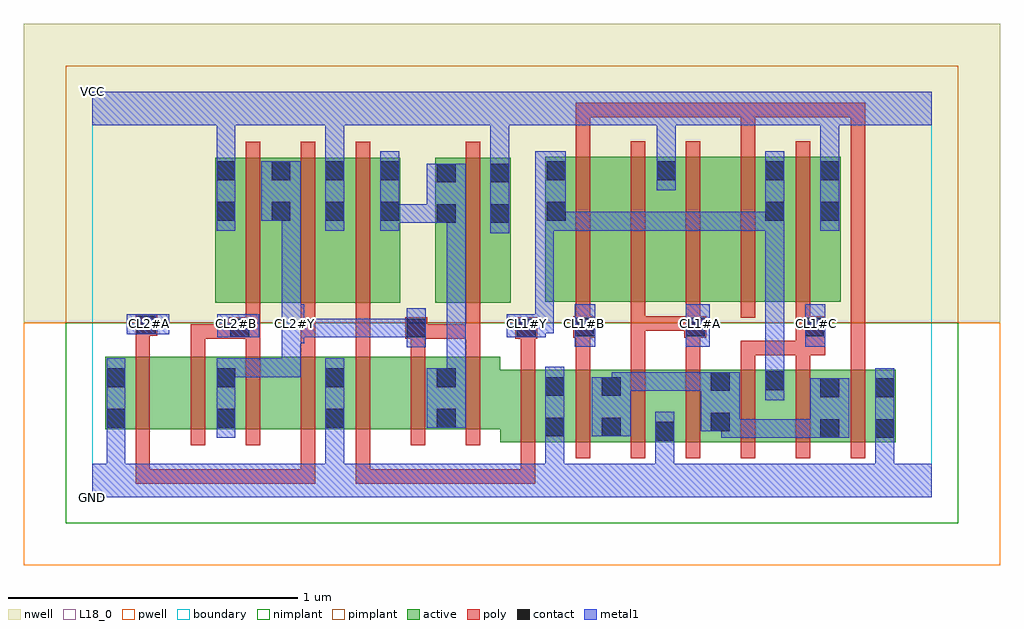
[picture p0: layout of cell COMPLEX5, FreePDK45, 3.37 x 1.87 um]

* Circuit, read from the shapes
.subckt COMPLEX5 CL1#A CL1#B CL1#C CL1#Y CL2#A CL2#B CL2#Y GND VCC
M1 n1 CL2#A GND VSUBS nfet w=0.25u l=0.05u
M2 CL2#Y CL2#B n1 VSUBS nfet w=0.25u l=0.05u
M3 n2 CL2#B CL2#Y VSUBS nfet w=0.25u l=0.05u
M4 GND CL2#A n2 VSUBS nfet w=0.25u l=0.05u
M5 n3 CL1#Y GND VSUBS nfet w=0.25u l=0.05u
M6 n4 CL2#Y n3 VSUBS nfet w=0.25u l=0.05u
M7 n5 CL2#Y n4 VSUBS nfet w=0.25u l=0.05u
M8 GND CL1#Y n5 VSUBS nfet w=0.25u l=0.05u
M9 n6 CL1#B GND VSUBS nfet w=0.25u l=0.05u m=2
M10 GND CL1#A n6 VSUBS nfet w=0.25u l=0.05u m=2
M11 CL1#Y CL1#C n6 VSUBS nfet w=0.25u l=0.05u m=2
M12 CL2#Y CL2#B VCC n7 pfet w=0.5u l=0.05u
M13 VCC CL2#A CL2#Y n7 pfet w=0.5u l=0.05u
M14 n4 CL1#Y VCC n7 pfet w=0.5u l=0.05u
M15 VCC CL2#Y n4 n7 pfet w=0.5u l=0.05u
M16 n8 CL1#B CL1#Y n7 pfet w=0.5u l=0.05u
M17 VCC CL1#A n8 n7 pfet w=0.5u l=0.05u
M18 n9 CL1#A VCC n7 pfet w=0.5u l=0.05u
M19 CL1#Y CL1#B n9 n7 pfet w=0.5u l=0.05u
M20 VCC CL1#C CL1#Y n7 pfet w=0.5u l=0.05u
.ends

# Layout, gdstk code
import gdstk
lib = gdstk.Library(unit=1e-6, precision=1e-09)
def R(c, l, rs):  # rectangles x0, y0, x1, y1
    for r in rs: c.add(gdstk.rectangle(r[:2], r[2:], *l))
def A(c, l, x, y, w, h, nx, ny, dx, dy):  # array of equal rectangles
    R(c, l, [(x+i*dx, y+j*dy, x+i*dx+w, y+j*dy+h) for i in range(nx) for j in range(ny)])
active = (1, 0)
pwell = (2, 0)
nwell = (3, 0)
nimplant = (4, 0)
pimplant = (5, 0)
poly = (9, 0)
contact = (10, 0)
metal1 = (11, 0)
L18_0 = (18, 0)
boundary = (235, 0)

complex5 = lib.new_cell('COMPLEX5')
R(complex5, active, [(1.41,0.19,1.635,0.44), (1.56,0.19,1.83,0.44), (1.755,0.19,2.015,0.44), (1.94,0.19,2.207,0.44), (1.94,0.19,2.015,0.342), (2.132,0.19,2.395,0.44), (2.32,0.19,2.585,0.44), (2.51,0.19,2.775,0.44), (2.7,0.19,2.775,0.44), (1.755,0.2,1.83,0.42), (2.132,0.2,2.207,0.437), (2.51,0.2,2.585,0.44), (1.56,0.205,1.635,0.44), (0.045,0.235,0.12,0.485), (0.045,0.235,0.27,0.485), (0.27,0.235,0.5,0.485), (0.425,0.235,0.65,0.485), (0.425,0.235,0.5,0.467), (0.65,0.235,0.875,0.485), (0.8,0.235,1.03,0.485), (0.8,0.235,0.875,0.45), (1.03,0.235,1.26,0.485), (1.185,0.235,1.41,0.485), (1.185,0.235,1.26,0.467), (2.32,0.297,2.395,0.44), (0.425,0.672,0.5,1.172), (0.425,0.672,0.69,1.172), (0.615,0.672,0.875,1.172), (0.8,0.672,1.065,1.172), (0.99,0.672,1.065,1.165), (1.185,0.672,1.445,1.172), (1.185,0.672,1.26,1.157), (1.37,0.672,1.445,1.172), (1.565,0.675,1.64,1.175), (1.565,0.675,1.79,1.175), (1.79,0.675,2.02,1.175), (1.945,0.675,2.02,1.165), (1.945,0.675,2.17,1.175), (2.17,0.675,2.395,1.175), (2.32,0.675,2.585,1.175), (2.32,0.675,2.395,1.165), (2.51,0.675,2.585,1.175), (0.615,0.807,0.69,1.165), (0.8,0.807,0.875,1.165)])
R(complex5, pwell, [(-0.235,-0.235,3.135,0.602)])
R(complex5, nwell, [(-0.235,0.602,3.135,1.635)])
R(complex5, nimplant, [(-0.09,-0.09,2.99,0.602)])
R(complex5, pimplant, [(-0.09,0.602,2.99,1.49)])
A(complex5, poly, 1.48, 0.135, 0.05, 0.36, 7, 1, 0.19, 0)
A(complex5, poly, 0.15, 0.18, 0.05, 0.36, 7, 1, 0.19, 0)
A(complex5, poly, 0.53, 0.572, 0.05, 0.095, 3, 1, 0.19, 0)
A(complex5, poly, 1.67, 0.575, 0.05, 0.095, 3, 1, 0.19, 0)
A(complex5, poly, 0.53, 0.617, 0.05, 0.61, 3, 1, 0.19, 0)
A(complex5, poly, 1.67, 0.62, 0.05, 0.61, 5, 1, 0.19, 0)
R(complex5, poly, [(0.15,0.047,0.2,0.097), (0.15,0.047,0.2,0.097), (0.15,0.047,0.2,0.097), (0.15,0.047,0.39,0.097), (0.15,0.047,0.2,0.23), (0.34,0.047,0.39,0.097), (0.34,0.047,0.39,0.097), (0.34,0.047,0.39,0.097), (0.34,0.047,0.637,0.097), (0.587,0.047,0.637,0.097), (0.587,0.047,0.637,0.097), (0.587,0.047,0.637,0.097), (0.587,0.047,0.77,0.097), (0.72,0.047,0.77,0.097), (0.72,0.047,0.77,0.23), (0.91,0.047,0.96,0.097), (0.91,0.047,1.157,0.097), (0.91,0.047,0.96,0.23), (1.107,0.047,1.157,0.097), (1.107,0.047,1.157,0.097), (1.107,0.047,1.157,0.097), (1.107,0.047,1.29,0.097), (1.24,0.047,1.29,0.097), (1.24,0.047,1.29,0.097), (1.24,0.047,1.29,0.097), (1.24,0.047,1.53,0.097), (1.48,0.047,1.53,0.097), (1.48,0.047,1.53,0.097), (1.48,0.047,1.53,0.097), (1.48,0.047,1.53,0.185), (1.48,0.445,1.53,0.597), (1.67,0.445,1.72,0.6), (1.86,0.445,1.91,0.625), (2.05,0.445,2.1,0.6), (2.24,0.445,2.29,0.54), (2.43,0.445,2.48,0.54), (2.62,0.445,2.67,1.362), (0.15,0.49,0.2,0.607), (0.34,0.49,0.39,0.597), (0.53,0.49,0.58,0.597), (0.72,0.49,0.77,0.622), (0.91,0.49,0.96,0.622), (1.1,0.49,1.15,0.597), (1.29,0.49,1.34,0.597), (2.24,0.49,2.29,0.54), (2.24,0.49,2.48,0.54), (2.43,0.49,2.48,0.54), (2.43,0.49,2.48,0.54), (2.43,0.49,2.532,0.625), (0.34,0.547,0.39,0.597), (0.34,0.547,0.39,0.597), (0.34,0.547,0.39,0.597), (0.34,0.547,0.522,0.597), (0.472,0.547,0.58,0.622), (1.082,0.547,1.157,0.622), (1.107,0.547,1.34,0.597), (1.29,0.547,1.34,0.597), (1.29,0.547,1.34,0.597), (1.29,0.547,1.34,0.597), (1.29,0.547,1.34,0.667), (1.462,0.547,1.537,0.622), (1.662,0.55,1.737,0.625), (2.045,0.55,2.12,0.625), (0.15,0.557,0.225,0.632), (0.72,0.572,0.77,0.622), (0.91,0.572,0.96,0.622), (1.86,0.575,1.91,0.625), (1.86,0.575,2.095,0.625), (2.045,0.575,2.095,0.625), (2.045,0.575,2.095,0.625), (2.43,0.575,2.48,0.67), (1.29,0.617,1.34,1.227), (1.67,1.18,1.72,1.362), (2.24,1.18,2.29,1.362), (1.67,1.312,1.72,1.362), (1.67,1.312,1.72,1.362), (1.67,1.312,1.72,1.362), (1.67,1.312,1.87,1.362), (1.82,1.312,1.87,1.362), (1.82,1.312,1.87,1.362), (1.82,1.312,1.87,1.362), (1.82,1.312,2.157,1.362), (2.107,1.312,2.157,1.362), (2.107,1.312,2.29,1.362), (2.24,1.312,2.29,1.362), (2.24,1.312,2.29,1.362), (2.24,1.312,2.29,1.362), (2.24,1.312,2.422,1.362), (2.372,1.312,2.422,1.362), (2.372,1.312,2.422,1.362), (2.372,1.312,2.422,1.362), (2.372,1.312,2.67,1.362), (2.62,1.312,2.67,1.362), (2.62,1.312,2.67,1.362), (2.62,1.312,2.67,1.362), (2.62,1.312,2.67,1.362), (2.62,1.312,2.67,1.362), (2.62,1.312,2.67,1.362), (2.62,1.312,2.67,1.362), (2.62,1.312,2.67,1.362), (2.62,1.312,2.67,1.362), (2.62,1.312,2.67,1.362), (2.62,1.312,2.67,1.362), (2.62,1.312,2.67,1.362), (2.62,1.312,2.67,1.362)])
R(complex5, contact, [(1.945,0.195,2.01,0.26), (2.515,0.205,2.58,0.27), (2.705,0.205,2.77,0.27), (1.565,0.21,1.63,0.275), (1.76,0.21,1.825,0.275), (2.137,0.227,2.202,0.292), (0.05,0.24,0.115,0.305), (0.43,0.24,0.495,0.305), (0.805,0.24,0.87,0.305), (1.19,0.24,1.255,0.305), (2.515,0.345,2.58,0.41), (2.705,0.345,2.77,0.41), (1.565,0.35,1.63,0.415), (1.76,0.35,1.825,0.415), (2.137,0.367,2.202,0.432), (2.325,0.37,2.39,0.435), (0.05,0.38,0.115,0.445), (0.43,0.38,0.495,0.445), (0.805,0.38,0.87,0.445), (1.19,0.38,1.255,0.445), (0.477,0.552,0.542,0.617), (1.087,0.552,1.152,0.617), (1.467,0.552,1.532,0.617), (1.667,0.555,1.732,0.62), (2.05,0.555,2.115,0.62), (2.462,0.555,2.527,0.62), (0.155,0.562,0.22,0.627), (1.19,0.947,1.255,1.012), (1.375,0.947,1.44,1.012), (0.43,0.955,0.495,1.02), (0.62,0.955,0.685,1.02), (0.805,0.955,0.87,1.02), (0.995,0.955,1.06,1.02), (1.57,0.955,1.635,1.02), (2.325,0.955,2.39,1.02), (2.515,0.955,2.58,1.02), (1.19,1.087,1.255,1.152), (1.375,1.087,1.44,1.152), (0.43,1.095,0.495,1.16), (0.62,1.095,0.685,1.16), (0.805,1.095,0.87,1.16), (0.995,1.095,1.06,1.16), (1.57,1.095,1.635,1.16), (1.95,1.095,2.015,1.16), (2.325,1.095,2.39,1.16), (2.515,1.095,2.58,1.16)])
R(complex5, metal1, [(0,0,2.9,0.115), (0.05,0.05,0.115,0.115), (0.05,0.05,0.115,0.115), (0.05,0.05,0.115,0.115), (0.05,0.05,0.115,0.115), (0.05,0.05,0.115,0.27), (0.805,0.05,0.87,0.27), (1.565,0.05,1.63,0.24), (1.945,0.05,2.01,0.115), (1.945,0.05,2.01,0.115), (1.945,0.05,2.01,0.115), (1.945,0.05,2.01,0.115), (1.945,0.05,2.01,0.225), (2.705,0.05,2.77,0.115), (2.705,0.05,2.77,0.115), (2.705,0.05,2.77,0.235), (1.945,0.16,2.01,0.295), (2.705,0.17,2.77,0.235), (2.705,0.17,2.77,0.235), (2.705,0.17,2.77,0.445), (1.565,0.175,1.63,0.24), (1.565,0.175,1.63,0.24), (1.565,0.175,1.63,0.24), (1.565,0.175,1.63,0.24), (1.565,0.175,1.63,0.45), (0.05,0.205,0.115,0.48), (0.43,0.205,0.495,0.48), (0.805,0.205,0.87,0.27), (0.805,0.205,0.87,0.27), (0.805,0.205,0.87,0.27), (0.805,0.205,0.87,0.27), (0.805,0.205,0.87,0.48), (2.172,0.205,2.237,0.27), (2.172,0.205,2.237,0.27), (2.172,0.205,2.237,0.27), (2.172,0.205,2.375,0.27), (2.172,0.205,2.237,0.292), (2.31,0.205,2.375,0.27), (2.31,0.205,2.545,0.27), (2.48,0.205,2.545,0.27), (2.48,0.205,2.545,0.27), (2.48,0.205,2.615,0.41), (1.725,0.21,1.86,0.415), (2.102,0.227,2.237,0.432), (1.155,0.24,1.29,0.445), (2.325,0.335,2.39,0.47), (1.795,0.35,1.86,0.415), (1.795,0.35,1.86,0.432), (1.795,0.367,2.03,0.432), (1.965,0.367,2.03,0.432), (1.965,0.367,2.03,0.432), (1.965,0.367,2.03,0.432), (1.965,0.367,2.167,0.432), (1.225,0.38,1.29,0.445), (1.225,0.38,1.29,0.445), (1.225,0.38,1.29,1.012), (2.325,0.405,2.39,0.47), (2.325,0.405,2.39,0.47), (2.325,0.405,2.39,0.985), (0.43,0.415,0.495,0.48), (0.43,0.415,0.495,0.48), (0.43,0.415,0.72,0.48), (0.655,0.415,0.72,0.48), (0.655,0.415,0.72,0.597), (1.087,0.517,1.152,0.652), (1.667,0.52,1.737,0.667), (2.05,0.52,2.132,0.667), (2.462,0.52,2.532,0.667), (0.655,0.532,0.732,0.667), (0.432,0.552,0.577,0.632), (0.667,0.552,0.732,0.617), (0.667,0.552,0.732,0.617), (0.667,0.552,0.922,0.617), (0.857,0.552,0.922,0.617), (0.857,0.552,0.922,0.617), (0.857,0.552,0.922,0.617), (0.857,0.552,1.082,0.617), (1.017,0.552,1.082,0.617), (1.017,0.552,1.152,0.617), (1.432,0.552,1.567,0.632), (0.12,0.562,0.267,0.632), (1.502,0.567,1.595,0.632), (1.53,0.567,1.595,0.632), (1.53,0.567,1.595,0.985), (0.655,0.602,0.72,1.02), (1.375,0.912,1.44,1.187), (0.43,0.92,0.495,1.195), (0.805,0.92,0.87,1.195), (0.995,0.92,1.06,1.195), (1.53,0.92,1.635,1.195), (1.57,0.92,1.705,0.985), (1.64,0.92,1.705,0.985), (1.64,0.92,1.842,0.985), (1.777,0.92,1.842,0.985), (1.777,0.92,1.842,0.985), (1.777,0.92,1.842,0.985), (1.777,0.92,2.03,0.985), (1.965,0.92,2.03,0.985), (1.965,0.92,2.03,0.985), (1.965,0.92,2.03,0.985), (1.965,0.92,2.167,0.985), (2.102,0.92,2.167,0.985), (2.102,0.92,2.39,0.985), (2.325,0.92,2.39,0.985), (2.325,0.92,2.39,0.985), (2.325,0.92,2.39,1.195), (2.515,0.92,2.58,1.195), (0.995,0.947,1.22,1.012), (1.155,0.947,1.22,1.012), (1.155,0.947,1.22,1.012), (1.155,0.947,1.29,1.152), (0.585,0.955,0.72,1.16), (1.95,1.06,2.015,1.195), (1.375,1.122,1.44,1.187), (1.375,1.122,1.44,1.187), (1.375,1.122,1.44,1.35), (0.43,1.13,0.495,1.195), (0.43,1.13,0.495,1.195), (0.43,1.13,0.495,1.35), (0.805,1.13,0.87,1.195), (0.805,1.13,0.87,1.195), (0.805,1.13,0.87,1.35), (1.95,1.13,2.015,1.35), (2.515,1.13,2.58,1.35), (0,1.285,2.9,1.4), (1.95,1.285,2.015,1.35), (1.95,1.285,2.015,1.35), (2.515,1.285,2.58,1.35), (2.515,1.285,2.58,1.35)])
A(complex5, L18_0, 1.667, 0.567, 0.065, 0.065, 3, 1, 0.4, 0)
R(complex5, L18_0, [(0,0,2.9,0.115), (0.05,0.05,0.115,0.115), (0.05,0.05,0.115,0.115), (0.05,0.05,0.115,0.115), (0.05,0.05,0.115,0.115), (0.05,0.05,0.115,0.27), (0.805,0.05,0.87,0.27), (1.565,0.05,1.63,0.24), (1.945,0.05,2.01,0.115), (1.945,0.05,2.01,0.115), (1.945,0.05,2.01,0.115), (1.945,0.05,2.01,0.115), (1.945,0.05,2.01,0.225), (2.705,0.05,2.77,0.115), (2.705,0.05,2.77,0.115), (2.705,0.05,2.77,0.235), (1.945,0.16,2.01,0.295), (2.705,0.17,2.77,0.235), (2.705,0.17,2.77,0.235), (2.705,0.17,2.77,0.445), (1.565,0.175,1.63,0.24), (1.565,0.175,1.63,0.24), (1.565,0.175,1.63,0.24), (1.565,0.175,1.63,0.24), (1.565,0.175,1.63,0.45), (0.05,0.205,0.115,0.48), (0.43,0.205,0.495,0.48), (0.805,0.205,0.87,0.27), (0.805,0.205,0.87,0.27), (0.805,0.205,0.87,0.27), (0.805,0.205,0.87,0.27), (0.805,0.205,0.87,0.48), (2.325,0.335,2.39,0.47), (2.325,0.405,2.39,0.47), (2.325,0.405,2.39,0.47), (2.325,0.405,2.39,0.985), (0.43,0.415,0.495,0.48), (0.43,0.415,0.495,0.48), (0.43,0.415,0.72,0.48), (0.655,0.415,0.72,0.48), (0.655,0.415,0.72,0.597), (1.087,0.517,1.152,0.652), (1.667,0.52,1.737,0.667), (2.05,0.52,2.132,0.667), (2.462,0.52,2.532,0.667), (0.655,0.532,0.732,0.667), (0.432,0.552,0.577,0.632), (0.667,0.552,0.732,0.617), (0.667,0.552,0.732,0.617), (0.667,0.552,0.922,0.617), (0.857,0.552,0.922,0.617), (0.857,0.552,0.922,0.617), (0.857,0.552,0.922,0.617), (0.857,0.552,1.082,0.617), (1.017,0.552,1.082,0.617), (1.017,0.552,1.152,0.617), (1.432,0.552,1.567,0.632), (0.12,0.562,0.267,0.632), (0.167,0.567,0.232,0.632), (0.467,0.567,0.532,0.632), (0.667,0.567,0.732,0.632), (1.467,0.567,1.532,0.632), (1.502,0.567,1.595,0.632), (1.53,0.567,1.595,0.632), (1.53,0.567,1.595,0.985), (0.655,0.602,0.72,1.02), (1.375,0.912,1.44,1.187), (0.43,0.92,0.495,1.195), (0.805,0.92,0.87,1.195), (1.53,0.92,1.635,1.195), (1.57,0.92,1.705,0.985), (1.64,0.92,1.705,0.985), (1.64,0.92,1.842,0.985), (1.777,0.92,1.842,0.985), (1.777,0.92,1.842,0.985), (1.777,0.92,1.842,0.985), (1.777,0.92,2.03,0.985), (1.965,0.92,2.03,0.985), (1.965,0.92,2.03,0.985), (1.965,0.92,2.03,0.985), (1.965,0.92,2.167,0.985), (2.102,0.92,2.167,0.985), (2.102,0.92,2.39,0.985), (2.325,0.92,2.39,0.985), (2.325,0.92,2.39,0.985), (2.325,0.92,2.39,1.195), (2.515,0.92,2.58,1.195), (0.585,0.955,0.72,1.16), (1.95,1.06,2.015,1.195), (1.375,1.122,1.44,1.187), (1.375,1.122,1.44,1.187), (1.375,1.122,1.44,1.35), (0.43,1.13,0.495,1.195), (0.43,1.13,0.495,1.195), (0.43,1.13,0.495,1.35), (0.805,1.13,0.87,1.195), (0.805,1.13,0.87,1.195), (0.805,1.13,0.87,1.35), (1.95,1.13,2.015,1.35), (2.515,1.13,2.58,1.35), (0,1.285,2.9,1.4), (1.95,1.285,2.015,1.35), (1.95,1.285,2.015,1.35), (2.515,1.285,2.58,1.35), (2.515,1.285,2.58,1.35)])
R(complex5, boundary, [(0,0,2.9,1.4)])
complex5.add(gdstk.Label('CL1#A', (2.1,0.6), layer=11, texttype=0))
complex5.add(gdstk.Label('CL1#B', (1.7,0.6), layer=11, texttype=0))
complex5.add(gdstk.Label('CL1#C', (2.5,0.6), layer=11, texttype=0))
complex5.add(gdstk.Label('CL1#Y', (1.5,0.6), layer=11, texttype=0))
complex5.add(gdstk.Label('CL2#A', (0.2,0.6), layer=11, texttype=0))
complex5.add(gdstk.Label('CL2#B', (0.5,0.6), layer=11, texttype=0))
complex5.add(gdstk.Label('CL2#Y', (0.7,0.6), layer=11, texttype=0))
complex5.add(gdstk.Label('VCC', (0,1.4), layer=11, texttype=0))
complex5.add(gdstk.Label('GND', (0,0), layer=11, texttype=0))

lib.write_gds('COMPLEX5.gds')
